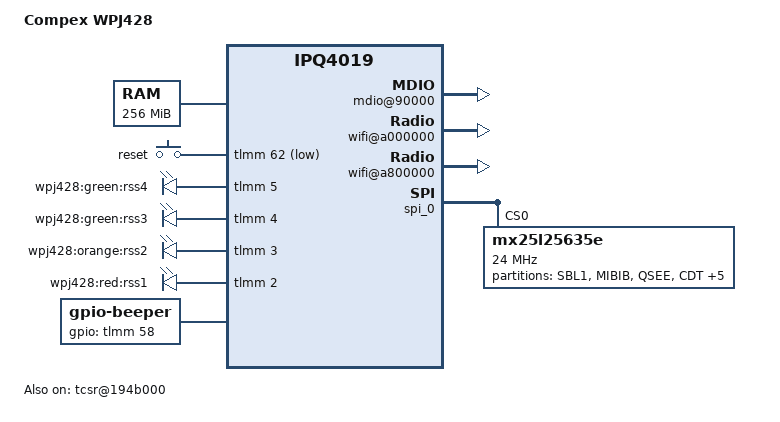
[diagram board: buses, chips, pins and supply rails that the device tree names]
/* Copyright (c) 2015, The Linux Foundation. All rights reserved.
 *
 * Permission to use, copy, modify, and/or distribute this software for any
 * purpose with or without fee is hereby granted, provided that the above
 * copyright notice and this permission notice appear in all copies.
 *
 * THE SOFTWARE IS PROVIDED "AS IS" AND THE AUTHOR DISCLAIMS ALL WARRANTIES
 * WITH REGARD TO THIS SOFTWARE INCLUDING ALL IMPLIED WARRANTIES OF
 * MERCHANTABILITY AND FITNESS. IN NO EVENT SHALL THE AUTHOR BE LIABLE FOR
 * ANY SPECIAL, DIRECT, INDIRECT, OR CONSEQUENTIAL DAMAGES OR ANY DAMAGES
 * WHATSOEVER RESULTING FROM LOSS OF USE, DATA OR PROFITS, WHETHER IN AN
 * ACTION OF CONTRACT, NEGLIGENCE OR OTHER TORTIOUS ACTION, ARISING OUT OF
 * OR IN CONNECTION WITH THE USE OR PERFORMANCE OF THIS SOFTWARE.
 *
 */

#include "qcom-ipq4019-ap.dk01.1.dtsi"
#include "qcom-ipq4019-bus.dtsi"
#include <dt-bindings/gpio/gpio.h>
#include <dt-bindings/input/input.h>
#include <dt-bindings/soc/qcom,tcsr.h>

/ {
	model = "Compex WPJ428";
	compatible = "compex,wpj428", "qcom,ipq40xx", "qcom,ipq4028", "qcom,ipq4019";

	memory {
		device_type = "memory";
		reg = <0x80000000 0x10000000>;
	};

	aliases {
		led-boot = &status;
		led-failsafe = &failsafe;
		led-running = &status;
		led-upgrade = &flash;
	};

	reserved-memory {
		#address-cells = <0x1>;
		#size-cells = <0x1>;
		ranges;

		wifi_dump@87500000 {
			reg = <0x87500000 0x600000>;
			no-map;
		};

		rsvd2@87B00000 {
			reg = <0x87b00000 0x500000>;
			no-map;
		};
	};
/*
	This could also work. Maybe it could be smaller still.

	reserved-memory {
		#address-cells = <0x1>;
		#size-cells = <0x1>;
		ranges;

		rsvd1@87E00000 {
			reg = <0x87e00000 0x200000>;
			no-map;
		};
	};
*/

	soc {
		tcsr@194b000 {
			/* select hostmode */
			compatible = "qcom,tcsr";
			reg = <0x194b000 0x100>;
			qcom,usb-hsphy-mode-select = <TCSR_USB_HSPHY_HOST_MODE>;
			status = "ok";
		};

		ess_tcsr@1953000 {
			compatible = "qcom,tcsr";
			reg = <0x1953000 0x1000>;
			qcom,ess-interface-select = <TCSR_ESS_PSGMII>;
		};


		tcsr@1949000 {
			compatible = "qcom,tcsr";
			reg = <0x1949000 0x100>;
			qcom,wifi_glb_cfg = <TCSR_WIFI_GLB_CFG>;
		};

		tcsr@1957000 {
			compatible = "qcom,tcsr";
			reg = <0x1957000 0x100>;
			qcom,wifi_noc_memtype_m0_m2 = <TCSR_WIFI_NOC_MEMTYPE_M0_M2>;
		};

		counter@4a1000 {
			compatible = "qcom,qca-gcnt";
			reg = <0x4a1000 0x4>;
		};

		mdio@90000 {
			status = "okay";
		};

		ess-switch@c000000 {
			status = "okay";
		};

		ess-psgmii@98000 {
			status = "okay";
		};

		edma@c080000 {
			status = "okay";
		};

		wifi@a000000 {
			status = "okay";
		};

		wifi@a800000 {
			status = "okay";
		};

		cryptobam: dma@8e04000 {
			status = "okay";
		};

		crypto@8e3a000 {
			status = "okay";
		};
	};

	gpio-keys {
		compatible = "gpio-keys";

		reset {
			label = "reset";
			gpios = <&tlmm 62 GPIO_ACTIVE_LOW>;
			linux,code = <KEY_RESTART>;
		};
	};

	gpio-leds {
		compatible = "gpio-leds";

		status: RSS4 {
			label = "wpj428:green:rss4";
			gpios = <&tlmm 5 GPIO_ACTIVE_HIGH>;
			default-state = "off";
		};

		flash: RSS3 {
			label = "wpj428:green:rss3";
			gpios = <&tlmm 4 GPIO_ACTIVE_HIGH>;
			default-state = "off";
		};

		failsafe: RSS2 {
			label = "wpj428:orange:rss2";
			gpios = <&tlmm 3 GPIO_ACTIVE_HIGH>;
			default-state = "off";
		};

		RSS1 {
			label = "wpj428:red:rss1";
			gpios = <&tlmm 2 GPIO_ACTIVE_HIGH>;
			default-state = "off";
			panic-indicator;
		};
	};

	beeper: beeper {
		compatible = "gpio-beeper";
		gpios = <&tlmm 58 GPIO_ACTIVE_HIGH>;
	};
};

&spi_0 { /* BLSP1 QUP1 */
	status = "ok";

	mx25l25635e@0 {
		compatible = "mx25l25635e", "mx25l25635f", "jedec,spi-nor";
		#address-cells = <1>;
		#size-cells = <0>;
		reg = <0>;
		spi-max-frequency = <24000000>;
		status = "ok";
		m25p,fast-read;

		partitions {
			compatible = "fixed-partitions";
			#address-cells = <1>;
			#size-cells = <1>;

			partition0@0 {
				label = "SBL1";
				reg = <0x00000000 0x00040000>;
				read-only;
			};
			partition1@40000 {
				label = "MIBIB";
				reg = <0x00040000 0x00020000>;
				read-only;
			};
			partition2@60000 {
				label = "QSEE";
				reg = <0x00060000 0x00060000>;
				read-only;
			};
			partition3@c0000 {
				label = "CDT";
				reg = <0x000c0000 0x00010000>;
				read-only;
			};
			partition4@d0000 {
				label = "DDRPARAMS";
				reg = <0x000d0000 0x00010000>;
				read-only;
			};
			partition5@e0000 {
				label = "APPSBLENV"; /* uboot env*/
				reg = <0x000e0000 0x00010000>;
				read-only;
			};
			partition5@f0000 {
				label = "APPSBL"; /* uboot */
				reg = <0x000f0000 0x00080000>;
				read-only;
			};
			partition5@170000 {
				label = "ART";
				reg = <0x00170000 0x00010000>;
				read-only;
			};
			partition6@180000 {
				label = "image";
				reg = <0x00180000 0x01A00000>;
			};
		};
	};

	m25p80@0 {
		#address-cells = <1>;
		#size-cells = <0>;
		compatible = "n25q128a11";
		reg = <0>;
		spi-max-frequency = <24000000>;
		status = "disabled";
	};
};

&cpu0_opp_table {
	/delete-node/ opp@666000000;

	opp@710000000 {
		opp-hz = /bits/ 64 <710000000>;
		clock-latency-ns = <256000>;
	};
};
